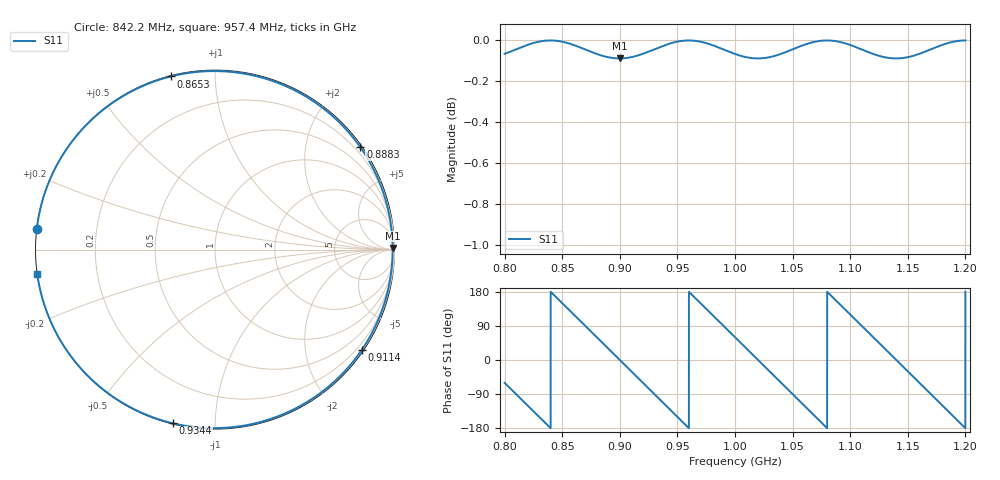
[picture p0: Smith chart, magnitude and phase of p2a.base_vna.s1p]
# Hz S RI R 50
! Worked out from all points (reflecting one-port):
!   10000 points, 800 MHz to 1.2 GHz, reference 50 ohm
!   lowest |S11| = -0.1 dB at 899.8 MHz (marker M1), VSWR 191.34, Z = 5.05e+03 + j4.78e+03 ohm
!   phase of S11 starts at -60 deg and turns -1200 deg over the sweep
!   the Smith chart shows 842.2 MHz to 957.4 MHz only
!   S11 on the Smith chart (normalised r, x): 842.2 MHz: 0.00, +0.06; 865.3 MHz: 0.00, +0.78; 888.3 MHz: 0.05, +3.15; 911.4 MHz: 0.05, -3.24; 934.4 MHz: 0.00, -0.79; 957.4 MHz: 0.00, -0.07
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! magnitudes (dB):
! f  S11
! 800 MHz  -0.1
! 825.9 MHz  0.0
! 842.2 MHz  0.0
! 850 MHz  0.0
! 865.3 MHz  0.0
! 888.3 MHz  -0.1
! 899.8 MHz  -0.1
! 900 MHz  -0.1
! 911.4 MHz  -0.1
! 934.4 MHz  0.0
! 950 MHz  0.0
! 957.4 MHz  0.0
! 965.5 MHz  0.0
! 974 MHz  0.0
! 1 GHz  -0.1
! 1.012 GHz  -0.1
! 1.024 GHz  -0.1
! 1.035 GHz  -0.1
! 1.05 GHz  0.0
! 1.065 GHz  0.0
! 1.076 GHz  0.0
! 1.088 GHz  0.0
! 1.1 GHz  0.0
! 1.13 GHz  -0.1
! 1.14 GHz  -0.1
! 1.15 GHz  -0.1
! 1.185 GHz  0.0
! 1.2 GHz  0.0
